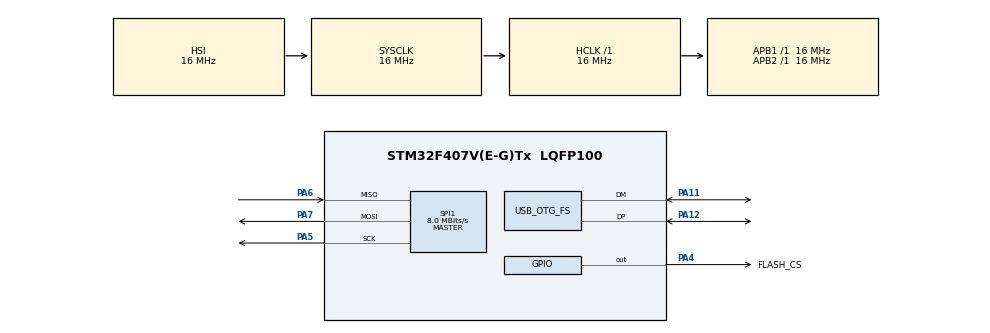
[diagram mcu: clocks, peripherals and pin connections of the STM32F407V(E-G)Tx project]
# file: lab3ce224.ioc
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Mcu.Family=STM32F4
Mcu.Name=STM32F407V(E-G)Tx
Mcu.Package=LQFP100
NVIC.OTG_FS_IRQn=true\:0\:0\:false\:false\:true\:false\:true\:true
NVIC.PriorityGroup=NVIC_PRIORITYGROUP_4
PA11.Mode=Device_Only
PA11.Signal=USB_OTG_FS_DM
PA12.Mode=Device_Only
PA12.Signal=USB_OTG_FS_DP
PA13.Mode=Serial_Wire
PA13.Signal=SYS_JTMS-SWDIO
PA14.Mode=Serial_Wire
PA14.Signal=SYS_JTCK-SWCLK
PA4.GPIO_Label=FLASH_CS
PA4.PinState=GPIO_PIN_SET
PA4.Signal=GPIO_Output
PA5.Mode=Full_Duplex_Master
PA5.Signal=SPI1_SCK
PA6.Mode=Full_Duplex_Master
PA6.Signal=SPI1_MISO
PA7.Mode=Full_Duplex_Master
PA7.Signal=SPI1_MOSI
PH0-OSC_IN.Mode=HSE-External-Oscillator
PH0-OSC_IN.Signal=RCC_OSC_IN
PH1-OSC_OUT.Mode=HSE-External-Oscillator
PH1-OSC_OUT.Signal=RCC_OSC_OUT
ProjectManager.HeapSize=0x200
ProjectManager.StackSize=0x400
ProjectManager.TargetToolchain=STM32CubeIDE
RCC.AHBFreq_Value=16000000
RCC.APB1Freq_Value=16000000
RCC.APB2Freq_Value=16000000
RCC.CortexFreq_Value=16000000
RCC.HSE_VALUE=25000000
RCC.HSI_VALUE=16000000
RCC.LSE_VALUE=32768
RCC.PLLSource=RCC_PLLSOURCE_HSI
RCC.SYSCLKFreq_VALUE=16000000
RCC.VCOOutputFreq_Value=192000000
SPI1.CalculateBaudRate=8.0 MBits/s
SPI1.Direction=SPI_DIRECTION_2LINES
SPI1.Mode=SPI_MODE_MASTER
SPI1.VirtualType=VM_MASTER
USB_DEVICE.CLASS_NAME_FS=CDC
USB_DEVICE.VirtualMode-CDC_FS=Cdc
USB_DEVICE.VirtualModeFS=Cdc_FS
USB_OTG_FS.VirtualMode=Device_Only
VP_USB_DEVICE_VS_USB_DEVICE_CDC_FS.Mode=CDC_FS
board=custom

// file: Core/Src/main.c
/* USER CODE BEGIN Header */
/**
  ******************************************************************************
  * @file           : main.c
  * @brief          : Main program body
  ******************************************************************************
  * @attention
  *
  * Copyright (c) 2026 STMicroelectronics.
  * All rights reserved.
  *
  * This software is licensed under terms that can be found in the LICENSE file
  * in the root directory of this software component.
  * If no LICENSE file comes with this software, it is provided AS-IS.
  *
  ******************************************************************************
  */
/* USER CODE END Header */
#include "main.h"
#include "usb_device.h"

/* USER CODE BEGIN Includes */
#include "spif.h"
#include "usbd_cdc_if.h"
#include <string.h>
#include <stdio.h>
/* USER CODE END Includes */

SPI_HandleTypeDef hspi1;

/* USER CODE BEGIN PV */
extern uint8_t rx_buffer[256];
extern uint32_t rx_len;
extern uint8_t rx_flag;
spif_t spif;
/* USER CODE END PV */

void SystemClock_Config(void);
static void MX_GPIO_Init(void);
static void MX_SPI1_Init(void);

int main(void)
{

  /* MCU Configuration--------------------------------------------------------*/

  /* Reset of all peripherals, Initializes the Flash interface and the Systick. */
  HAL_Init();

  /* Configure the system clock */
  SystemClock_Config();

  /* Initialize all configured peripherals */
  MX_GPIO_Init();
  MX_SPI1_Init();
  MX_USB_DEVICE_Init();
  /* USER CODE BEGIN 2 */
  // Khởi tạo thư viện SPI Flash
  if (spif_init(&spif, &hspi1, FLASH_CS_GPIO_Port, FLASH_CS_Pin)) {
      char *msg = "\r\n--- KET NOI FLASH W25Q16 THANH CONG ---\r\n"
                  "Nhap 'READ' de doc Flash\r\n"
                  "Nhap 'ERASE' de xoa Flash\r\n"
                  "Nhap chuoi bat ky khac de GHI xuong Flash:\r\n";
      CDC_Transmit_FS((uint8_t*)msg, strlen(msg));
  } else {
      char *msg = "LOI KET NOI FLASH!\r\n";
      CDC_Transmit_FS((uint8_t*)msg, strlen(msg));
  }
  /* USER CODE END 2 */

  /* Infinite loop */
  /* USER CODE BEGIN WHILE */
  while (1)
  {
	  if (rx_flag == 1)
	      {
	          rx_flag = 0; // Xóa cờ

	          // CHỨC NĂNG 3: XOÁ TOÀN BỘ FLASH
	          if (strncmp((char*)rx_buffer, "ERASE", 5) == 0)
	          {
	              char *msg = "\r\n[1/2] Dang xoa toan bo Flash...\r\n";
	              CDC_Transmit_FS((uint8_t*)msg, strlen(msg));

	              spif_erase_chip(&spif); // Xóa toàn bộ chip

	              char *done_msg = "[2/2] Da xoa toan bo Flash thanh cong!\r\n";
	              HAL_Delay(100);
	              CDC_Transmit_FS((uint8_t*)done_msg, strlen(done_msg));
	          }
	          // CHỨC NĂNG 2: ĐỌC DỮ LIỆU TỪ FLASH VÀ GỬI QUA USB CDC
	          else if (strncmp((char*)rx_buffer, "READ", 4) == 0)
	          {
	              uint8_t read_data[256] = {0};

	              // Đọc 256 bytes từ địa chỉ 0x000000
	              spif_write(&spif, 0, rx_buffer, rx_len);

	              char tx_buf[300];
	              snprintf(tx_buf, sizeof(tx_buf), "\r\n--> Du lieu trong Flash (Sector 0): %s\r\n", read_data);
	              CDC_Transmit_FS((uint8_t*)tx_buf, strlen(tx_buf));
	          }
	          // CHỨC NĂNG 1: GHI DỮ LIỆU NHẬP TỪ TERMINAL XUỐNG FLASH
	          else
	          {
	              // Xóa Sector 0 trước khi ghi mới
	        	  spif_erase_sector(&spif, 0);

	              // Ghi dữ liệu vừa nhận vào Sector 0, Page 0, Offset 0
	        	  spif_write(&spif, 0, rx_buffer, rx_len);

	              char tx_buf[300];
	              snprintf(tx_buf, sizeof(tx_buf), "\r\n--> Da ghi chuoi: '%s' xuong Flash!\r\n", rx_buffer);
	              CDC_Transmit_FS((uint8_t*)tx_buf, strlen(tx_buf));
	          }
    /* USER CODE END WHILE */

  }
  }

}
void SystemClock_Config(void)
{
  RCC_OscInitTypeDef RCC_OscInitStruct = {0};
  RCC_ClkInitTypeDef RCC_ClkInitStruct = {0};

  /** Configure the main internal regulator output voltage
  */
  __HAL_RCC_PWR_CLK_ENABLE();
  __HAL_PWR_VOLTAGESCALING_CONFIG(PWR_REGULATOR_VOLTAGE_SCALE1);

  /** Initializes the RCC Oscillators according to the specified parameters
  * in the RCC_OscInitTypeDef structure.
  */
  RCC_OscInitStruct.OscillatorType = RCC_OSCILLATORTYPE_HSI;
  RCC_OscInitStruct.HSIState = RCC_HSI_ON;
  RCC_OscInitStruct.HSICalibrationValue = RCC_HSICALIBRATION_DEFAULT;
  RCC_OscInitStruct.PLL.PLLState = RCC_PLL_ON;
  RCC_OscInitStruct.PLL.PLLSource = RCC_PLLSOURCE_HSI;
  RCC_OscInitStruct.PLL.PLLM = 16;
  RCC_OscInitStruct.PLL.PLLN = 192;
  RCC_OscInitStruct.PLL.PLLP = RCC_PLLP_DIV2;
  RCC_OscInitStruct.PLL.PLLQ = 4;
  if (HAL_RCC_OscConfig(&RCC_OscInitStruct) != HAL_OK)
  {
    Error_Handler();
  }

  /** Initializes the CPU, AHB and APB buses clocks
  */
  RCC_ClkInitStruct.ClockType = RCC_CLOCKTYPE_HCLK|RCC_CLOCKTYPE_SYSCLK
                              |RCC_CLOCKTYPE_PCLK1|RCC_CLOCKTYPE_PCLK2;
  RCC_ClkInitStruct.SYSCLKSource = RCC_SYSCLKSOURCE_HSI;
  RCC_ClkInitStruct.AHBCLKDivider = RCC_SYSCLK_DIV1;
  RCC_ClkInitStruct.APB1CLKDivider = RCC_HCLK_DIV1;
  RCC_ClkInitStruct.APB2CLKDivider = RCC_HCLK_DIV1;

  if (HAL_RCC_ClockConfig(&RCC_ClkInitStruct, FLASH_LATENCY_0) != HAL_OK)
  {
    Error_Handler();
  }
}

static void MX_SPI1_Init(void)
{

  /* SPI1 parameter configuration*/
  hspi1.Instance = SPI1;
  hspi1.Init.Mode = SPI_MODE_MASTER;
  hspi1.Init.Direction = SPI_DIRECTION_2LINES;
  hspi1.Init.DataSize = SPI_DATASIZE_8BIT;
  hspi1.Init.CLKPolarity = SPI_POLARITY_LOW;
  hspi1.Init.CLKPhase = SPI_PHASE_1EDGE;
  hspi1.Init.NSS = SPI_NSS_SOFT;
  hspi1.Init.BaudRatePrescaler = SPI_BAUDRATEPRESCALER_2;
  hspi1.Init.FirstBit = SPI_FIRSTBIT_MSB;
  hspi1.Init.TIMode = SPI_TIMODE_DISABLE;
  hspi1.Init.CRCCalculation = SPI_CRCCALCULATION_DISABLE;
  hspi1.Init.CRCPolynomial = 10;
  if (HAL_SPI_Init(&hspi1) != HAL_OK)
  {
    Error_Handler();
  }

}

static void MX_GPIO_Init(void)
{
  GPIO_InitTypeDef GPIO_InitStruct = {0};

  /* GPIO Ports Clock Enable */
  __HAL_RCC_GPIOH_CLK_ENABLE();
  __HAL_RCC_GPIOA_CLK_ENABLE();

  /*Configure GPIO pin Output Level */
  HAL_GPIO_WritePin(FLASH_CS_GPIO_Port, FLASH_CS_Pin, GPIO_PIN_SET);

  /*Configure GPIO pin : FLASH_CS_Pin */
  GPIO_InitStruct.Pin = FLASH_CS_Pin;
  GPIO_InitStruct.Mode = GPIO_MODE_OUTPUT_PP;
  GPIO_InitStruct.Pull = GPIO_NOPULL;
  GPIO_InitStruct.Speed = GPIO_SPEED_FREQ_LOW;
  HAL_GPIO_Init(FLASH_CS_GPIO_Port, &GPIO_InitStruct);

}

void Error_Handler(void)
{
  __disable_irq();
  while (1)
  {
  }
}
